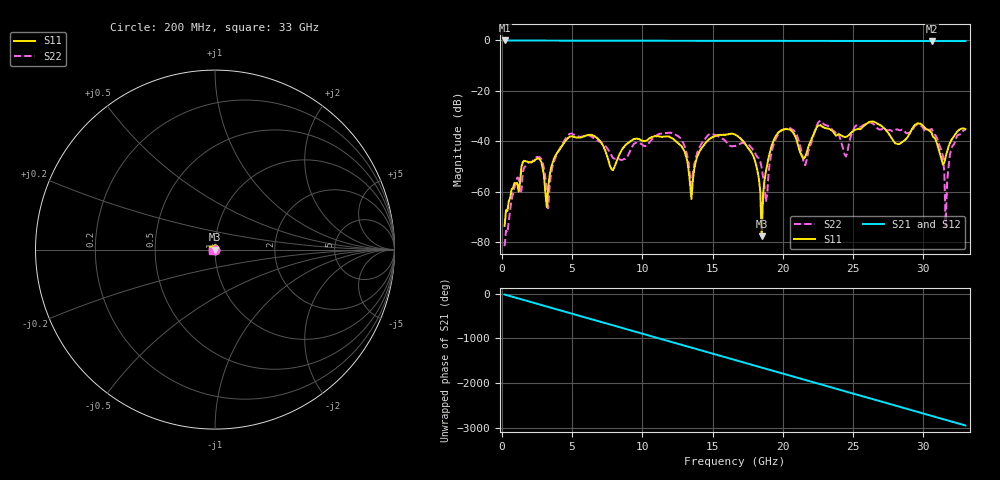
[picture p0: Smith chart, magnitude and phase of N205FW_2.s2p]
# GHZ S RI R 50
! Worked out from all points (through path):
!   329 points, 200 MHz to 33 GHz, reference 50 ohm
!   highest |S21| = -0.02 dB at 200 MHz (marker M1); lowest = -0.3 dB at 30.6 GHz (marker M2)
!   group delay of S21, straight-line fit = 248 ps
!   lowest |S11| = -77.7 dB at 18.5 GHz (marker M3), VSWR 1.00, Z = 50 - j0.00917 ohm
!   |S11| at or under -10 dB: start of sweep to end of sweep
!   |S22| runs from -81.6 to -32.0 dB; largest |S21 - S12| = 0.0022
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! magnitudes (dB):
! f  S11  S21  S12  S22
! 200 MHz  -73.6  0.0  0.0  -81.6
! 1.6 GHz  -47.7  -0.1  -0.1  -50.3
! 2.8 GHz  -48.0  -0.1  -0.1  -46.9
! 3.2 GHz  -66.0  -0.1  -0.1  -58.9
! 3.8 GHz  -45.9  -0.1  -0.1  -46.8
! 5.7 GHz  -38.4  -0.1  -0.1  -38.1
! 11.2 GHz  -38.1  -0.1  -0.1  -37.1
! 13 GHz  -43.9  -0.2  -0.2  -41.7
! 13.5 GHz  -62.8  -0.2  -0.2  -57.2
! 14.1 GHz  -43.7  -0.2  -0.2  -42.1
! 16.6 GHz  -37.3  -0.2  -0.2  -41.9
! 18.1 GHz  -49.3  -0.2  -0.2  -45.5
! 18.5 GHz  -77.7  -0.2  -0.2  -50.5
! 18.8 GHz  -51.9  -0.2  -0.2  -64.0
! 19.4 GHz  -39.1  -0.2  -0.2  -40.5
! 22.1 GHz  -38.4  -0.2  -0.2  -39.4
! 27.6 GHz  -37.5  -0.2  -0.2  -35.5
! 30.6 GHz  -36.6  -0.3  -0.3  -35.1
! 31.4 GHz  -49.3  -0.3  -0.3  -46.0
! 31.6 GHz  -46.0  -0.3  -0.3  -74.2
! 31.9 GHz  -40.7  -0.3  -0.3  -45.4
! 33 GHz  -35.2  -0.3  -0.3  -35.5
